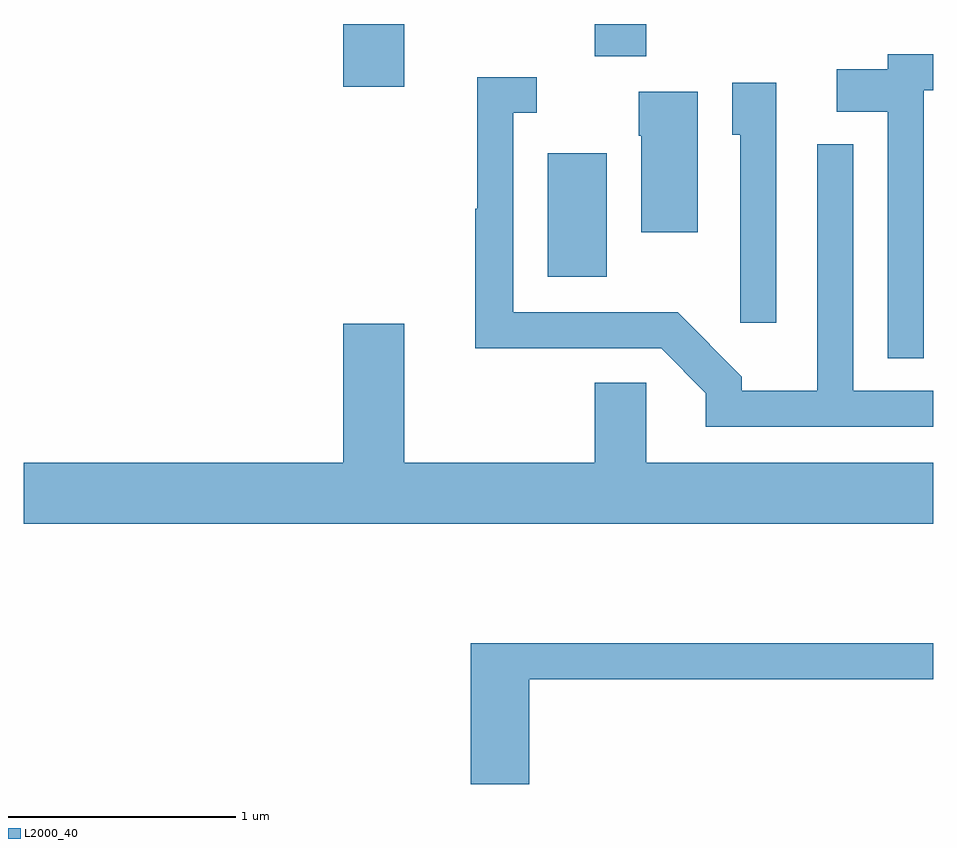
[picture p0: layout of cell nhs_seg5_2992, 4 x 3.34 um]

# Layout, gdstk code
import gdstk
lib = gdstk.Library(unit=1e-6, precision=1e-09)
def R(c, l, rs):  # rectangles x0, y0, x1, y1
    for r in rs: c.add(gdstk.rectangle(r[:2], r[2:], *l))
def P(c, l, *ps):  # polygons
    for p in ps: c.add(gdstk.Polygon(p, *l))
L2000_40 = (2000, 40)

nhs_seg5_2992 = lib.new_cell('nhs_seg5_2992')
R(nhs_seg5_2992, L2000_40, [(275.916,1488.961,276.174,1489.504), (275.016,1489.796,275.284,1490.072), (276.121,1489.931,276.349,1490.072)])
P(nhs_seg5_2992, L2000_40, [(277.569,1489.781),(277.611,1489.781),(277.611,1489.939),(277.411,1489.939),(277.411,1489.874),(277.186,1489.874),(277.186,1489.686),(277.411,1489.686),(277.411,1488.603),(277.569,1488.603)],
  [(277.611,1488.459),(277.259,1488.459),(277.259,1489.543),(277.101,1489.543),(277.101,1488.459),(276.769,1488.459),(276.769,1488.522),(276.487,1488.804),(275.764,1488.804),(275.764,1489.681),(275.868,1489.681),(275.868,1489.839),(275.606,1489.839),(275.606,1489.26),(275.596,1489.26),(275.596,1488.646),(276.414,1488.646),(276.611,1488.449),(276.611,1488.301),(277.611,1488.301)],
  [(276.919,1489.814),(276.726,1489.814),(276.726,1489.586),(276.761,1489.586),(276.761,1488.758),(276.919,1488.758)],
  [(276.574,1489.774),(276.316,1489.774),(276.316,1489.58),(276.326,1489.58),(276.326,1489.156),(276.574,1489.156)],
  [(277.611,1488.144),(276.349,1488.144),(276.349,1488.494),(276.121,1488.494),(276.121,1488.144),(275.284,1488.144),(275.284,1488.754),(275.016,1488.754),(275.016,1488.144),(273.611,1488.144),(273.611,1487.876),(277.611,1487.876)],
  [(275.834,1487.191),(277.611,1487.191),(277.611,1487.349),(275.576,1487.349),(275.576,1486.731),(275.834,1486.731)])

lib.write_gds('nhs_seg5_2992.gds')
